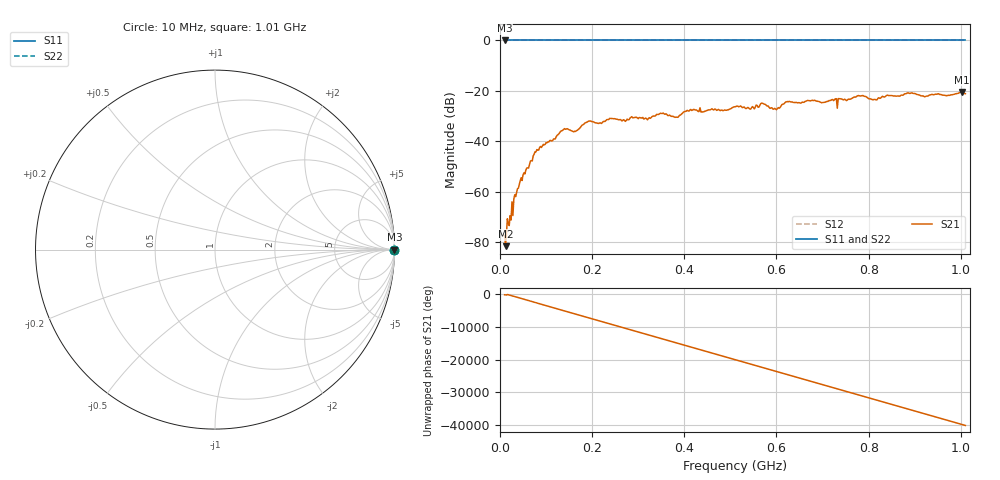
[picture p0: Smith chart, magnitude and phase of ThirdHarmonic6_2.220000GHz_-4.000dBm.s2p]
! 8/17/2025 2:26:18 AM
! C:\ANRITSUVNA\TEMP\TEMP.S2P
! CHANNEL.1
! TR.MEASUREMENT
! RAW.DATA
! RF.CORRECTION.OFF
! AVERAGING.OFF
! IF.BANDWIDTH: 5KHZ
! SWEEPTYPE:  FREQ.SWEEP(Linear)
! Reference Plane Port Info
! PORT:  PORT1  PORT2
! DISTANCE:  0  m  0  m
! TIME:  0  s  0  s
! PHASE.OFFSET:  0  deg.  0  deg.
! LOSS:  0  dB  0  dB
! REF.LOSS:  0  dB  0  dB
! REF.FREQ:  0  Hz  0  Hz
! Power Info
! POWER:  -20  dBm  -20  dBm
! EFF.POWER:  -20  dBm  -20  dBm
! SOURCE.ATTEN:  0  dB  0  dB
! TEST.ATTEN:  0  dB  0  dB
# GHZ S RI R 50.0
! FREQ.GHZ  S11RE  S11IM  S21RE  S21IM  S12RE  S12IM  S22RE  S22IM
!; PortSelection: Port_12
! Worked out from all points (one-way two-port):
!   501 points, 10 MHz to 1.01 GHz, reference 50 ohm
!   highest |S21| = -20.48 dB at 1.002 GHz (marker M1); lowest = -81.6 dB at 12 MHz (marker M2)
!   lowest |S11| = 0.0 dB at 10 MHz (marker M3)
!   |S11| at or under -10 dB: nowhere
!   |S22| runs from 0.0 to 0.0 dB; largest |S21 - S12| = 1.1
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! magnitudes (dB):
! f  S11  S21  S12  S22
! 10 MHz  0.0  -77.4  0.0  0.0
! 12 MHz  0.0  -81.6  0.0  0.0
! 42 MHz  0.0  -57.1  0.0  0.0
! 76 MHz  0.0  -44.2  0.0  0.0
! 136 MHz  0.0  -35.7  0.0  0.0
! 162 MHz  0.0  -36.1  0.0  0.0
! 178 MHz  0.0  -33.6  0.0  0.0
! 194 MHz  0.0  -32.0  0.0  0.0
! 322 MHz  0.0  -31.0  0.0  0.0
! 344 MHz  0.0  -29.4  0.0  0.0
! 382 MHz  0.0  -30.4  0.0  0.0
! 410 MHz  0.0  -28.0  0.0  0.0
! 510 MHz  0.0  -26.3  0.0  0.0
! 570 MHz  0.0  -24.9  0.0  0.0
! 596 MHz  0.0  -26.9  0.0  0.0
! 624 MHz  0.0  -24.2  0.0  0.0
! 678 MHz  0.0  -23.7  0.0  0.0
! 782 MHz  0.0  -22.0  0.0  0.0
! 814 MHz  0.0  -23.4  0.0  0.0
! 844 MHz  0.0  -21.9  0.0  0.0
! 1.002 GHz  0.0  -20.5  0.0  0.0
! 1.01 GHz  0.0  -21.1  0.0  0.0
